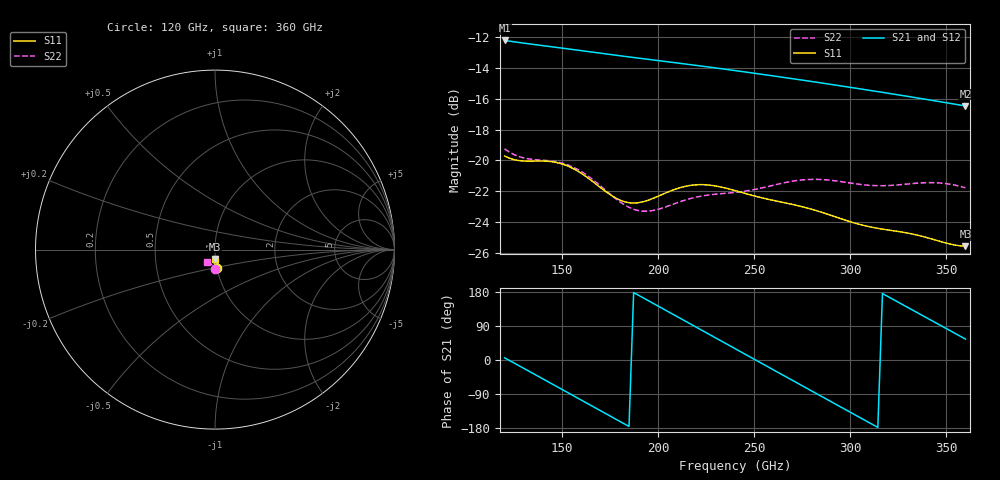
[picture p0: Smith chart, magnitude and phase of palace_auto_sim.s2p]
#  GHZ S DB R 50
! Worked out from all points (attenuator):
!   101 points, 120 GHz to 360 GHz, reference 50 ohm
!   highest |S21| = -12.21 dB at 120 GHz (marker M1); lowest = -16.5 dB at 360 GHz (marker M2)
!   lowest |S11| = -25.6 dB at 360 GHz (marker M3), VSWR 1.11, Z = 49.5 - j5.23 ohm
!   |S11| at or under -10 dB: start of sweep to end of sweep
!   |S22| runs from -23.3 to -19.2 dB; largest |S21 - S12| = 2.5e-13
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120  -19.71 -83.0  -12.21 5.8  -12.21 5.8  -19.25 -91.1
129.6  -20.03 -80.3  -12.38 -21.0  -12.38 -21.0  -19.82 -89.0
141.6  -20.04 -81.0  -12.57 -54.5  -12.57 -54.5  -20.00 -89.1
151.2  -20.28 -84.2  -12.73 -81.3  -12.73 -81.3  -20.22 -92.0
160.8  -20.91 -87.4  -12.88 -108.2  -12.88 -108.2  -20.79 -95.6
172.8  -22.03 -87.8  -13.08 -141.8  -13.08 -141.8  -21.95 -97.6
182.4  -22.68 -84.2  -13.24 -168.6  -13.24 -168.6  -22.88 -95.2
192  -22.68 -79.9  -13.39 164.5  -13.39 164.5  -23.29 -90.3
201.6  -22.23 -78.2  -13.54 137.7  -13.54 137.7  -23.11 -86.3
211.2  -21.77 -79.8  -13.69 110.8  -13.69 110.8  -22.69 -85.1
220.8  -21.57 -83.4  -13.84 83.9  -13.84 83.9  -22.35 -86.0
240  -21.95 -90.2  -14.16 30.1  -14.16 30.1  -22.07 -88.6
249.6  -22.29 -92.1  -14.33 3.2  -14.33 3.2  -21.90 -89.6
259.2  -22.57 -93.6  -14.50 -23.7  -14.50 -23.7  -21.63 -91.3
271.2  -22.89 -95.4  -14.71 -57.3  -14.71 -57.3  -21.32 -94.8
280.8  -23.20 -96.9  -14.89 -84.1  -14.89 -84.1  -21.22 -98.4
290.4  -23.58 -98.0  -15.07 -110.9  -15.07 -110.9  -21.29 -102.0
302.4  -24.06 -98.2  -15.30 -144.4  -15.30 -144.4  -21.51 -105.3
312  -24.35 -97.6  -15.48 -171.2  -15.48 -171.2  -21.63 -107.0
321.6  -24.54 -97.2  -15.67 162.1  -15.67 162.1  -21.61 -108.7
340.8  -25.04 -96.8  -16.06 108.6  -16.06 108.6  -21.44 -114.6
360  -25.56 -92.2  -16.46 55.3  -16.46 55.3  -21.78 -123.5
